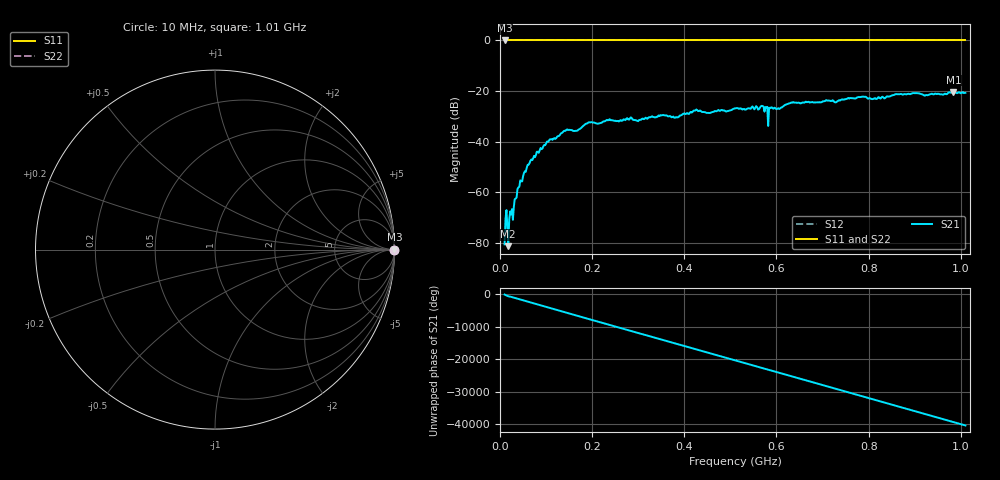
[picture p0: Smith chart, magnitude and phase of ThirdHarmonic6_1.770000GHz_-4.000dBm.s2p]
! 8/16/2025 9:22:39 PM
! C:\ANRITSUVNA\TEMP\TEMP.S2P
! CHANNEL.1
! TR.MEASUREMENT
! RAW.DATA
! RF.CORRECTION.OFF
! AVERAGING.OFF
! IF.BANDWIDTH: 5KHZ
! SWEEPTYPE:  FREQ.SWEEP(Linear)
! Reference Plane Port Info
! PORT:  PORT1  PORT2
! DISTANCE:  0  m  0  m
! TIME:  0  s  0  s
! PHASE.OFFSET:  0  deg.  0  deg.
! LOSS:  0  dB  0  dB
! REF.LOSS:  0  dB  0  dB
! REF.FREQ:  0  Hz  0  Hz
! Power Info
! POWER:  -20  dBm  -20  dBm
! EFF.POWER:  -20  dBm  -20  dBm
! SOURCE.ATTEN:  0  dB  0  dB
! TEST.ATTEN:  0  dB  0  dB
# GHZ S RI R 50.0
! FREQ.GHZ  S11RE  S11IM  S21RE  S21IM  S12RE  S12IM  S22RE  S22IM
!; PortSelection: Port_12
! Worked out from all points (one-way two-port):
!   501 points, 10 MHz to 1.01 GHz, reference 50 ohm
!   highest |S21| = -20.33 dB at 984 MHz (marker M1); lowest = -81.2 dB at 18 MHz (marker M2)
!   lowest |S11| = 0.0 dB at 10 MHz (marker M3)
!   |S11| at or under -10 dB: nowhere
!   |S22| runs from 0.0 to 0.0 dB; largest |S21 - S12| = 1.1
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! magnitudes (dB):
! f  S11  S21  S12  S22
! 10 MHz  0.0  -80.5  0.0  0.0
! 18 MHz  0.0  -81.2  0.0  0.0
! 20 MHz  0.0  -70.7  0.0  0.0
! 42 MHz  0.0  -57.7  0.0  0.0
! 70 MHz  0.0  -47.2  0.0  0.0
! 106 MHz  0.0  -39.7  0.0  0.0
! 142 MHz  0.0  -35.7  0.0  0.0
! 178 MHz  0.0  -34.1  0.0  0.0
! 196 MHz  0.0  -32.3  0.0  0.0
! 344 MHz  0.0  -29.6  0.0  0.0
! 382 MHz  0.0  -30.3  0.0  0.0
! 424 MHz  0.0  -27.7  0.0  0.0
! 452 MHz  0.0  -28.6  0.0  0.0
! 510 MHz  0.0  -26.8  0.0  0.0
! 568 MHz  0.0  -25.8  0.0  0.0
! 576 MHz  0.0  -26.3  0.0  0.0
! 578 MHz  0.0  -26.4  0.0  0.0
! 632 MHz  0.0  -24.5  0.0  0.0
! 678 MHz  0.0  -24.3  0.0  0.0
! 844 MHz  0.0  -22.2  0.0  0.0
! 984 MHz  0.0  -20.3  0.0  0.0
! 1.01 GHz  0.0  -20.7  0.0  0.0
